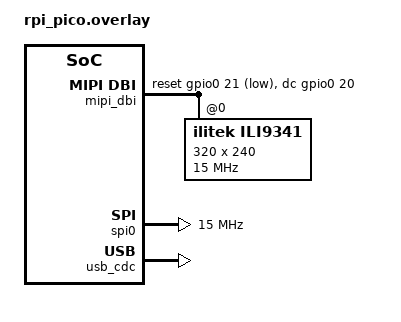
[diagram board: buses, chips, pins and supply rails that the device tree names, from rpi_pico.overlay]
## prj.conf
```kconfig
CONFIG_GPIO=y
CONFIG_SPI=y
CONFIG_HEAP_MEM_POOL_SIZE=65536
CONFIG_MAIN_STACK_SIZE=4096

CONFIG_LOG=y
CONFIG_DISPLAY=y
CONFIG_ILI9341=y
CONFIG_MIPI_DBI=y
CONFIG_MIPI_DBI_SPI=y

CONFIG_LVGL=y
# 20% of 240 is 48 rows
CONFIG_LV_Z_VDB_SIZE=20
CONFIG_LV_Z_MEM_POOL_SIZE=32678
CONFIG_LV_USE_IMAGE=y
CONFIG_LV_USE_LABEL=y
CONFIG_LV_COLOR_16_SWAP=y
CONFIG_LV_FONT_MONTSERRAT_14=n
CONFIG_LV_FONT_MONTSERRAT_24=y
CONFIG_LV_FONT_DEFAULT_MONTSERRAT_24=y
CONFIG_LV_USE_LOG=y
CONFIG_LV_USE_ILI9341=y
CONFIG_USB_DEVICE_STACK_NEXT=y
CONFIG_USB_DEVICE_PRODUCT="Zephyr Weather Station"
CONFIG_USB_CDC_ACM=y
CONFIG_CDC_ACM_SERIAL_INITIALIZE_AT_BOOT=y
CONFIG_CONSOLE=y
CONFIG_SERIAL=y
CONFIG_UART_CONSOLE=y

#CONFIG_ILI9341_DEBUG=y
#CONFIG_SPI_DEBUG_LOG=y
#CONFIG_MIPI_DBI_DEBUG=y

#CONFIG_LVGL_
# BTN,ANIMIMG,CALENDAR,SWITCH,ARC,SLIDER,IMG...
#CONFIG_LV_FONT_MONTSERRAT_16=y # 10,12,14,...22,28,32
# https://github.com/kapcina69/Smartwatch/tree/first_stable
# https://github.com/CliffsDover/zephyr_lvgl_nrf52_pca10040_ili9341/blob/master/src/main.c
#
```

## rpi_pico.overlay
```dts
/* ======[ WIRING ]=======
 * PICO     DISPLAY MODULE
 * 3V3   -> 1+8 VCC+LED
 * GP21  -> 4 RST
 * GP20  -> 5 D/C
 * GP19  -> 6 SDI/MOSI
 * GP18  -> 7 SCK
 * GND   -> 2 GND
 * GP17  -> 3 CS
 * NOTE: GP18,GP19 are standard SPI0 pins
 * NOTE: another CS and MISO are needed for touch on Pico's side
 */

/ {
    chosen {
        zephyr,display = &ili9341;
        zephyr,console = &usb_cdc;
    };

    mipi_dbi {
        compatible      = "zephyr,mipi-dbi-spi";
        spi-dev         = <&spi0>;
        dc-gpios        = <&gpio0 20 GPIO_ACTIVE_HIGH>;
        reset-gpios     = <&gpio0 21 GPIO_ACTIVE_LOW>;
        write-only;
        #address-cells  = <1>;
        #size-cells     = <0>;

        ili9341: ili9341@0 {
            compatible          = "ilitek,ili9341";
            mipi-max-frequency  = <15000000>;
            reg                 = <0>;      // Uses cs-gpios[0]
            width               = <320>;
            height              = <240>;
            rotation            = <90>;     // Default, portait 240x320, 90 landscape ...
            status              = "okay";
        };
    };
};

&spi0 {
    status          = "okay";
    clock-frequency = <15000000>;
    // Note: multiple devices can have CS pins configured here, separated by ","
    // They are referenced via reg=<n>;
    cs-gpios        = <&gpio0 17 GPIO_ACTIVE_LOW>;
};

&zephyr_udc0 {
    usb_cdc: usb_cdc_0 {
        compatible = "zephyr,cdc-acm-uart";
    };
};
```

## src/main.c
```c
#include <zephyr/kernel.h>
#include <zephyr/device.h>
#include <zephyr/drivers/display.h>
#include <lvgl.h>
#include <zephyr/logging/log.h>

// https://docs.lvgl.io/9.4/examples.html

LOG_MODULE_REGISTER(main, LOG_LEVEL_INF);

static int display_caps(const struct device *dev) {
#if 0
    struct display_capabilities caps;

    if (display_get_capabilities(dev, &caps) != 0) {
        LOG_ERR("Can't get display capabilities");
        return -1;
    }

    LOG_INF("Display: %dx%d %dbpp", caps.x_resolution, caps.y_resolution, caps.current_pixel_format);
#endif
    return 0;
}

int main(void) {
    LOG_INF("Starting LVGL Hello World example");

    /* Get display device */
    const struct device* display_dev = DEVICE_DT_GET(DT_CHOSEN(zephyr_display));
    if (!device_is_ready(display_dev)) {
        LOG_ERR("Display device not ready");
        return -1;
    }
    LOG_INF("Display device ready");

    display_caps(display_dev);
    display_blanking_off(display_dev);

    /* Create the main screen */
    lv_obj_t* screen = lv_obj_create(NULL);
    lv_scr_load(screen);

    /* Set background color */
    lv_obj_set_style_bg_color(screen, lv_color_hex(0x000000), LV_PART_MAIN);

    /* Create a container box with border (frame around display) */
    lv_obj_t *border_box = lv_obj_create(screen);
    lv_obj_set_size(border_box, LV_HOR_RES - 10, LV_VER_RES - 10);
    lv_obj_center(border_box);

    /* Style the border */
    lv_obj_set_style_border_color(border_box, lv_color_hex(0xaab0ad), LV_PART_MAIN);
    lv_obj_set_style_border_width(border_box, 3, LV_PART_MAIN);
    lv_obj_set_style_bg_color(border_box, lv_color_hex(0xf6f2ee), LV_PART_MAIN);
    lv_obj_set_style_radius(border_box, 15, LV_PART_MAIN);

    /* Create label for "Hello World" */
    lv_obj_t* label = lv_label_create(border_box);
    lv_label_set_text(label, "Hello World!");

    /* Style the label */
    lv_obj_set_style_text_color(label, lv_color_hex(0x4863b6), LV_PART_MAIN);
    lv_obj_set_style_text_font(label, &lv_font_montserrat_24, LV_PART_MAIN);

    /* Center the label in the border box */
    lv_obj_center(label);

    LOG_INF("LVGL widgets created");

    /* Main loop */
    while (1) {
        lv_timer_handler();
        k_msleep(10);
    }

    return 0;
}

/* vim: set expandtab shiftwidth=4 softtabstop=4 tabstop=4 : */
```
